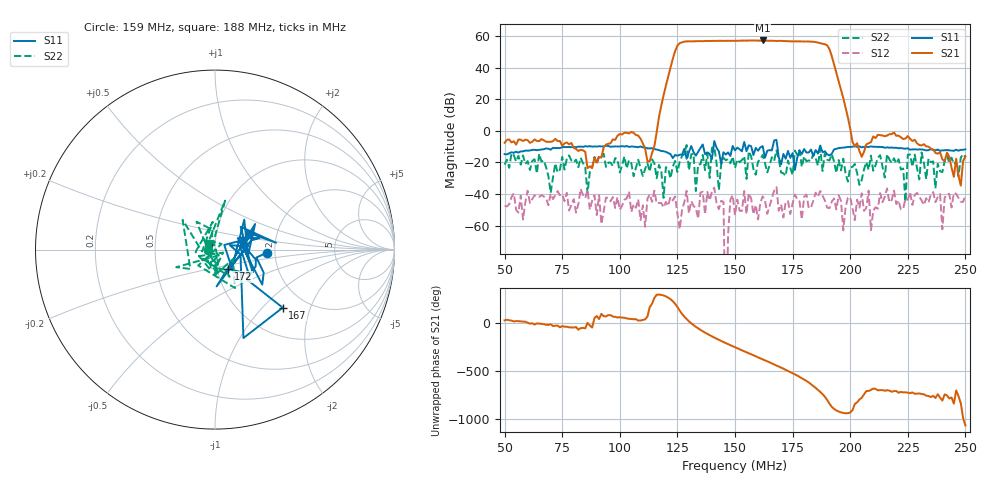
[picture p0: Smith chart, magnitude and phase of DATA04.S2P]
! Network Analyzer HP8753D.06.12 Serial No. 3410A09394
! 13 Jun 2019  10:01:13
# HZ  S  DB R 50
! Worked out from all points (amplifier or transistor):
!   201 points, 50 MHz to 250 MHz, reference 50 ohm
!   highest |S21| = 57.1 dB at 162 MHz (marker M1)
!   |S21| within 3 dB of that: 125.2 MHz to 189.9 MHz (64.7 MHz wide, 41.1 % of centre)
!   unconditionally stable (mu >= 1): start of sweep to 122 MHz; 145.1 MHz to 147.4 MHz; 193.1 MHz to end of sweep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
!   at 83 MHz: K = 119.38, MAG = -11.4 dB, |S12| = -36.7 dB
!   at 150 MHz: K = 1.05, MSG = 55.1 dB, |S12| = -53.3 dB
!   at 250 MHz: K = 321.30, MAG = -15.8 dB, |S12| = -40.7 dB
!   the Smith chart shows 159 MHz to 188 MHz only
!   S11 on the Smith chart (normalised r, x): 159 MHz: 1.81, -0.07; 167 MHz: 1.53, -1.31; 172 MHz: 1.13, -0.25; 188 MHz: 1.43, +0.28
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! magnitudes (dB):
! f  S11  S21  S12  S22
! 50 MHz  -14.7  -7.6  -47.3  -21.3
! 84 MHz  -10.1  -12.3  -40.4  -20.3
! 113 MHz  -11.1  -19.1  -40.1  -25.8
! 117 MHz  -12.2  8.7  -45.6  -21.6
! 126 MHz  -15.1  55.4  -62.2  -19.6
! 141 MHz  -6.5  56.8  -35.9  -10.1
! 143 MHz  -13.0  56.9  -49.5  -37.4
! 145 MHz  -13.6  56.9  -45.0  -17.1
! 146 MHz  -15.0  56.8  -138.2  -18.6
! 148 MHz  -15.9  56.8  -43.5  -20.6
! 150 MHz  -12.4  56.8  -53.3  -23.5
! 159 MHz  -10.8  57.1  -47.0  -27.8
! 162 MHz  -9.7  57.1  -41.4  -15.3
! 167 MHz  -6.1  56.9  -37.8  -18.9
! 172 MHz  -17.6  56.7  -44.9  -28.4
! 184 MHz  -15.9  56.3  -44.1  -14.6
! 188 MHz  -13.6  55.0  -40.9  -25.4
! 205 MHz  -10.4  -16.4  -39.5  -31.1
! 217 MHz  -10.7  -2.1  -45.1  -18.1
! 224 MHz  -11.3  -4.9  -42.8  -44.9
! 225 MHz  -11.1  -3.3  -43.6  -15.0
! 250 MHz  -11.7  -16.2  -40.7  -16.5
